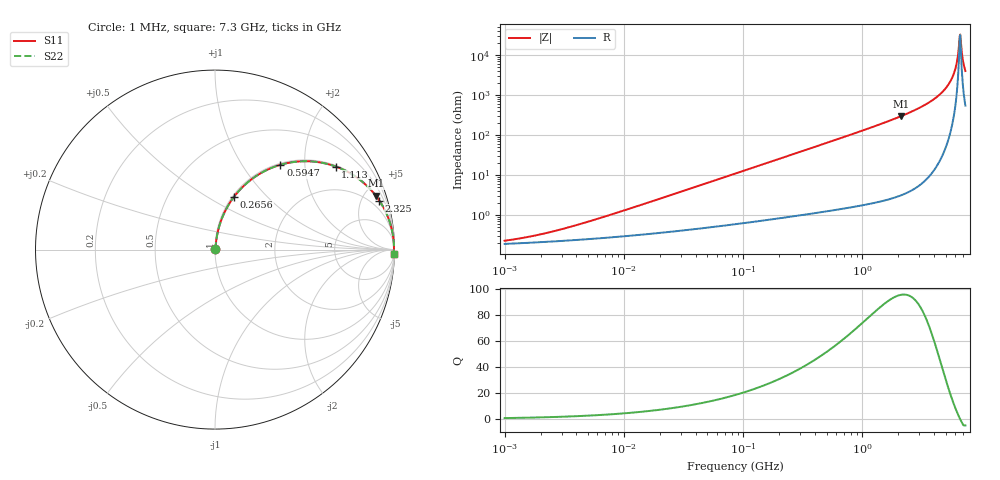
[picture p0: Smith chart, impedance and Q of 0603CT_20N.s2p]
# MHz  S  MA  R  50
!Freq  MagS11  AngS11  MagS21  AngS21  MagS12  AngS12  MagS22  AngS22
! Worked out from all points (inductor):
!   896 points, 1 MHz to 7.3 GHz, reference 50 ohm
!   read as one part in series: L = 20 nH near 6.239 MHz
!   highest Q = 95.6 at 2.125 GHz (marker M1), where L = 22.3 nH
!   self-resonance near 6.543 GHz
!   S11 on the Smith chart (normalised r, x): 1 MHz: 1.00, +0.00; 265.6 MHz: 1.02, +0.67; 594.7 MHz: 1.03, +1.51; 1.113 GHz: 1.04, +2.88; 2.325 GHz: 1.07, +6.67; 7.3 GHz: 12, -79
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1  0.002257 33.7  0.9981 -0.1  0.9981 -0.1  0.002257 33.7
2.006763  0.003262 50.3  0.9979 -0.1  0.9979 -0.1  0.003262 50.3
4.448423  0.006074 66.3  0.9976 -0.3  0.9976 -0.3  0.006074 66.3
19.59254  0.02478 80.4  0.9962 -1.4  0.9962 -1.4  0.02478 80.4
86.29298  0.1074 80.8  0.9884 -6.2  0.9884 -6.2  0.1074 80.8
265.6383  0.3146 70.1  0.9406 -18.3  0.9406 -18.3  0.3146 70.1
380.067  0.4285 63.3  0.8939 -25.4  0.8939 -25.4  0.4285 63.3
594.7329  0.5968 52.4  0.7919 -36.6  0.7919 -36.6  0.5968 52.4
1113.188  0.8165 34.5  0.567 -54.7  0.567 -54.7  0.8165 34.5
1673.959  0.91 23.9  0.4047 -65.5  0.4047 -65.5  0.91 23.9
2125.484  0.9451 18.5  0.317 -70.9  0.317 -70.9  0.9451 18.5
2324.61  0.9552 16.6  0.2862 -72.8  0.2862 -72.8  0.9552 16.6
3710.691  0.9874 8.3  0.1445 -80.9  0.1445 -80.9  0.9874 8.3
5001.45  0.9955 3.8  0.0671 -84.3  0.0671 -84.3  0.9955 3.8
5470.013  0.9966 2.6  0.04505 -84.4  0.04505 -84.4  0.9966 2.6
5864.594  0.997 1.6  0.02816 -83.2  0.02816 -83.2  0.997 1.6
6102.72  0.9972 1.1  0.01861 -80.7  0.01861 -80.7  0.9972 1.1
6414.02  0.9971 0.4  0.007013 -65.7  0.007013 -65.7  0.9971 0.4
6542.942  0.9971 0.1  0.003333 -29.0  0.003333 -29.0  0.9971 0.1
6741.199  0.997 -0.3  0.006341 61.1  0.006341 61.1  0.997 -0.3
7014.919  0.9967 -0.9  0.01549 77.2  0.01549 77.2  0.9967 -0.9
7300  0.9963 -1.4  0.025 80.8  0.025 80.8  0.9963 -1.4
